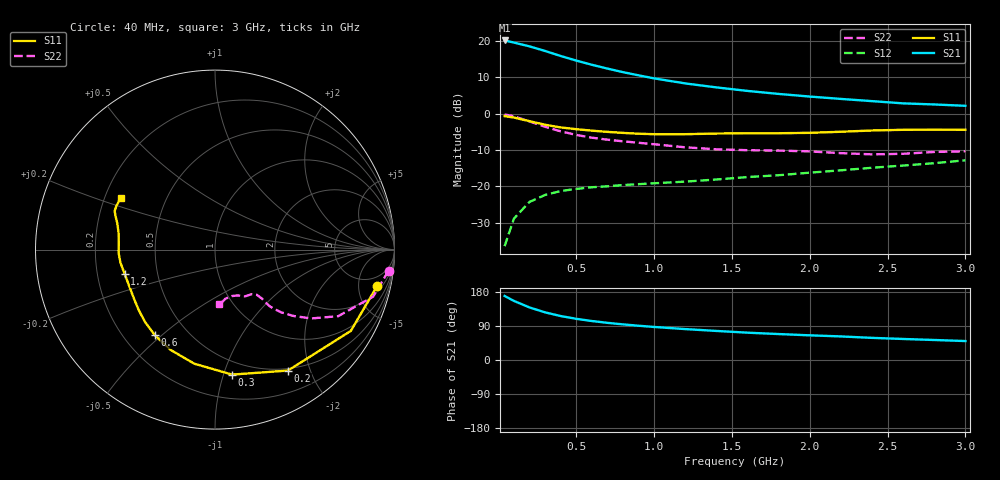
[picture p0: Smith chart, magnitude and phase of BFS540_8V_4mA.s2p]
! Filename:  BFS540G.S2P  Version:  4.0
! Philips part #: BFS540  Date: Jun 1994
! Bias condition: Vce=8V, Ic=4mA
#  MHz  S  MA  R  50
! Freq  S11  S21  S12  S22  !GUM [dB]
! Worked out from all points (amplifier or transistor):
!   21 points, 40 MHz to 3 GHz, reference 50 ohm
!   highest |S21| = 20.1 dB at 40 MHz (marker M1)
!   |S21| within 3 dB of that: start of sweep to 307.9 MHz
!   unconditionally stable (mu >= 1): 1.13 GHz to end of sweep
!   at 300 MHz: K = 0.35, MSG = 19.8 dB, |S12| = -22.4 dB
!   at 1 GHz: K = 0.92, MSG = 14.4 dB, |S12| = -19.2 dB
!   at 3 GHz: K = 1.04, MAG = 6.3 dB, |S12| = -12.8 dB
!   S11 on the Smith chart (normalised r, x): 40 MHz: 2.80, -7.94; 200 MHz: 0.47, -1.67; 300 MHz: 0.39, -1.07; 600 MHz: 0.33, -0.48; 1.2 GHz: 0.32, -0.12; 3 GHz: 0.27, +0.24
40  0.925 -12.8  10.16 169.0  0.015 82.3  0.974 -7.0
100  0.882 -30.9  9.5 155.9  0.036 71.0  0.919 -16.6
200  0.787 -58.9  8.419 138.7  0.061 57.6  0.78 -28.4
300  0.703 -82.2  7.281 125.7  0.076 49.7  0.659 -35.6
400  0.646 -100.3  6.211 116.0  0.086 45.3  0.571 -40.3
500  0.611 -114.0  5.371 108.7  0.092 42.8  0.509 -43.4
600  0.583 -125.0  4.704 102.9  0.097 42.1  0.467 -45.1
700  0.561 -133.9  4.169 98.1  0.1 42.3  0.438 -46.0
800  0.543 -141.3  3.723 94.0  0.104 43.1  0.416 -46.2
900  0.529 -148.0  3.365 90.4  0.107 44.1  0.397 -46.3
1000  0.521 -154.3  3.057 87.2  0.11 45.4  0.379 -46.2
1200  0.521 -164.8  2.605 81.6  0.116 48.6  0.344 -47.2
1400  0.532 -172.2  2.296 76.7  0.124 52.2  0.323 -50.2
1600  0.537 -177.9  2.053 72.1  0.134 55.1  0.314 -54.4
1800  0.537 176.5  1.867 68.5  0.142 58.6  0.31 -57.1
2000  0.544 170.6  1.717 65.1  0.154 61.6  0.302 -59.3
2200  0.563 165.1  1.593 62.2  0.166 64.7  0.286 -63.2
2400  0.586 161.2  1.486 58.4  0.18 66.7  0.275 -70.3
2600  0.599 158.9  1.384 55.5  0.193 67.9  0.28 -78.2
2800  0.601 155.9  1.337 52.8  0.208 69.7  0.297 -82.7
3000  0.599 151.5  1.281 50.0  0.228 70.6  0.303 -85.4
